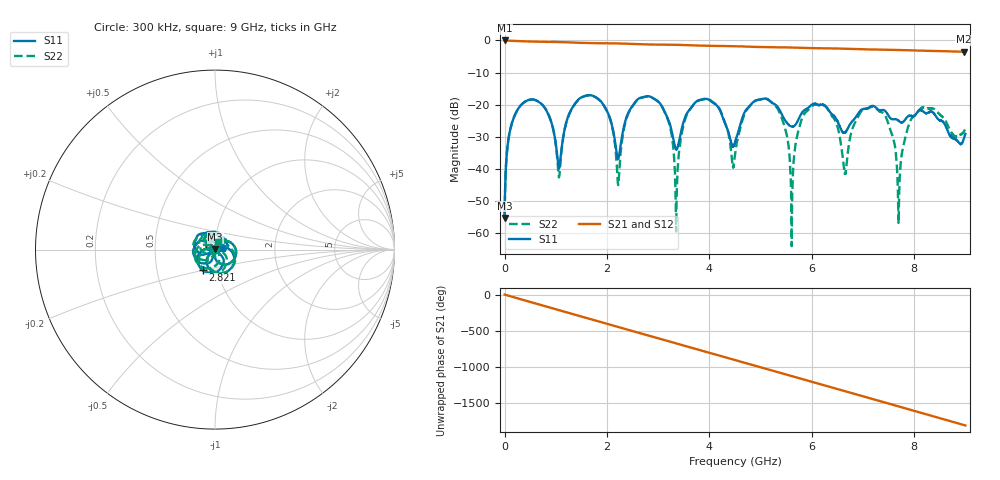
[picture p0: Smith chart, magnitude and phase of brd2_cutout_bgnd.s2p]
!Agilent Technologies,E8803A,US42160105,A.06.04.32
!Agilent E8803A: A.06.04.32
!Date: Wednesday, April 19, 2023 22:23:53
!Correction: S11(Full 2 Port(1,2)) S21(Full 2 Port(1,2)) S12(Full 2 Port(1,2)) S22(Full 2 Port(1,2))
!S2P File: Measurements: S11, S21, S12, S22:
# Hz S  dB  R 50
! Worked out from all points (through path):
!   6401 points, 300 kHz to 9 GHz, reference 50 ohm
!   highest |S21| = -0.02 dB at 300 kHz (marker M1); lowest = -3.5 dB at 8.973 GHz (marker M2)
!   group delay of S21, straight-line fit = 558 ps
!   lowest |S11| = -55.3 dB at 300 kHz (marker M3), VSWR 1.00, Z = 50.2 + j0.0569 ohm
!   |S11| at or under -10 dB: start of sweep to end of sweep
!   |S22| runs from -64.1 to -17.1 dB; largest |S21 - S12| = 0.0046
!   S11 on the Smith chart (normalised r, x): 300 kHz: 1.00, +0.00; 2.821 GHz: 0.85, -0.20; 9 GHz: 1.07, +0.02
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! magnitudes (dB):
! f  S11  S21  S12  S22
! 300 kHz  -55.3  0.0  0.0  -55.0
! 298.4 MHz  -20.5  -0.2  -0.2  -20.6
! 789.2 MHz  -21.1  -0.4  -0.4  -21.1
! 1.063 GHz  -39.9  -0.5  -0.5  -42.6
! 1.501 GHz  -17.7  -0.8  -0.8  -17.8
! 1.983 GHz  -21.5  -0.9  -0.9  -21.5
! 2.219 GHz  -36.9  -1.0  -1.0  -45.1
! 2.821 GHz  -17.4  -1.3  -1.3  -17.5
! 3.001 GHz  -19.0  -1.3  -1.3  -19.1
! 3.351 GHz  -33.9  -1.4  -1.4  -59.5
! 3.794 GHz  -18.6  -1.6  -1.6  -18.7
! 4.5 GHz  -31.7  -1.8  -1.8  -35.7
! 5.126 GHz  -18.3  -2.1  -2.1  -18.2
! 5.612 GHz  -26.9  -2.2  -2.2  -54.3
! 6.001 GHz  -20.0  -2.4  -2.4  -20.5
! 6.647 GHz  -28.7  -2.6  -2.6  -41.6
! 6.982 GHz  -21.5  -2.7  -2.8  -21.8
! 7.501 GHz  -23.5  -2.9  -2.9  -26.3
! 7.698 GHz  -25.1  -3.0  -3.0  -54.7
! 8.127 GHz  -21.7  -3.2  -3.2  -21.2
! 8.973 GHz  -30.5  -3.5  -3.6  -28.3
! 9 GHz  -29.1  -3.5  -3.5  -27.5
